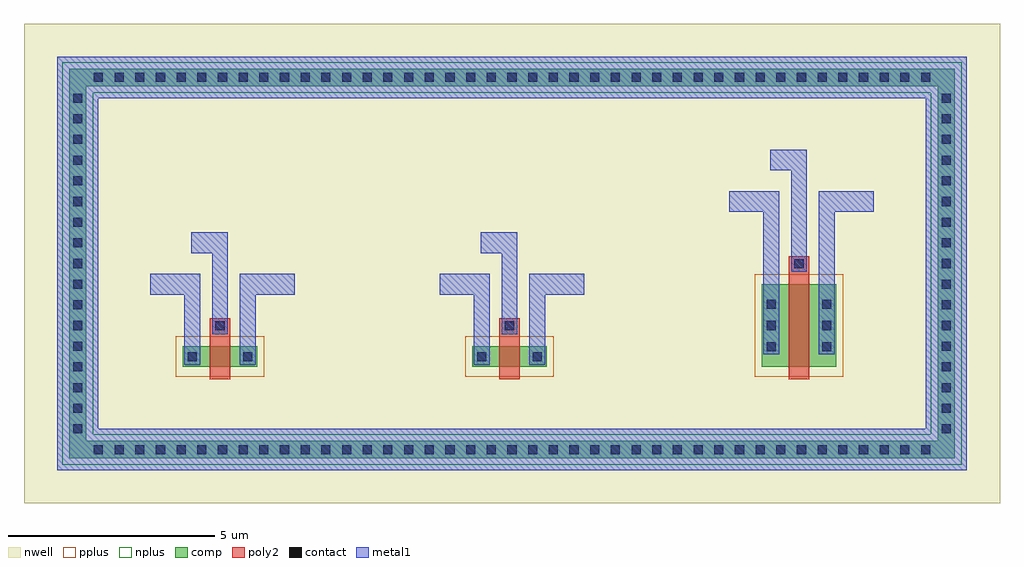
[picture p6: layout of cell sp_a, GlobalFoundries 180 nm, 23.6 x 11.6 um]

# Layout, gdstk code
import gdstk
lib = gdstk.Library(unit=1e-6, precision=1e-09)
def R(c, l, rs):  # rectangles x0, y0, x1, y1
    for r in rs: c.add(gdstk.rectangle(r[:2], r[2:], *l))
def A(c, l, x, y, w, h, nx, ny, dx, dy):  # array of equal rectangles
    R(c, l, [(x+i*dx, y+j*dy, x+i*dx+w, y+j*dy+h) for i in range(nx) for j in range(ny)])
nwell = (21, 0)
comp = (22, 0)
poly2 = (30, 0)
pplus = (31, 0)
nplus = (32, 0)
contact = (33, 0)
metal1 = (34, 0)

pfet__13 = lib.new_cell('pfet__13')
R(pfet__13, nwell, [(-0.9,-0.44,1.78,0.94)])
R(pfet__13, comp, [(-0.46,0,0,0.5), (0,0,0.88,0.5), (0.88,0,1.34,0.5)])
R(pfet__13, poly2, [(0.19,-0.3,0.69,0.8), (0.19,0.8,0.69,1.18)])
R(pfet__13, pplus, [(-0.63,-0.24,1.51,0.74)])
R(pfet__13, contact, [(-0.34,0.14,-0.12,0.36), (1,0.14,1.22,0.36), (0.33,0.88,0.55,1.1)])
R(pfet__13, metal1, [(-0.42,0.055,-0.04,0.445), (0.92,0.055,1.3,0.445), (0.25,0.795,0.63,1.185)])

pfet__14 = lib.new_cell('pfet__14')
R(pfet__14, nwell, [(-0.9,-0.44,1.78,2.44)])
R(pfet__14, comp, [(-0.46,0,0,2), (0,0,0.88,2), (0.88,0,1.34,2)])
R(pfet__14, poly2, [(0.19,-0.3,0.69,2.3), (0.19,2.3,0.69,2.68)])
R(pfet__14, pplus, [(-0.63,-0.24,1.51,2.24)])
A(pfet__14, contact, -0.34, 0.38, 0.22, 0.22, 1, 3, 0, 0.51)
A(pfet__14, contact, 1, 0.38, 0.22, 0.22, 1, 3, 0, 0.51)
R(pfet__14, contact, [(0.33,2.38,0.55,2.6)])
R(pfet__14, metal1, [(-0.42,0.3,-0.04,1.7), (0.92,0.3,1.3,1.7), (0.25,2.295,0.63,2.685)])

sp_a = lib.new_cell('sp_a')
R(sp_a, nwell, [(-4.3,-3.3,19.3,8.3)])
R(sp_a, comp, [(-3.21,-2.21,-2.79,7.21), (-2.79,-2.21,17.79,-1.79), (17.79,-2.21,18.21,7.21), (-2.79,6.79,17.79,7.21)])
R(sp_a, nplus, [(-3.37,-2.37,18.37,-1.63), (-3.37,-2.37,-2.63,7.37), (17.63,-2.37,18.37,7.37), (-3.37,6.63,18.37,7.37)])
A(sp_a, contact, -2.61, -2.11, 0.22, 0.22, 41, 2, 0.5, 9)
A(sp_a, contact, -3.11, -1.61, 0.22, 0.22, 1, 17, 0, 0.5)
A(sp_a, contact, 17.89, -1.61, 0.22, 0.22, 1, 17, 0, 0.5)
R(sp_a, metal1, [(-3.5,-2.5,-2.5,7.5), (-2.5,-2.5,17.5,-1.5), (17.5,-2.5,18.5,7.5), (-0.42,0.425,-0.04,2.25), (0.92,0.425,1.3,2.25), (6.58,0.425,6.96,2.25), (7.92,0.425,8.3,2.25), (0.25,1.165,0.63,3.25), (7.25,1.165,7.63,3.25), (13.58,1.68,13.96,4.25), (14.92,1.68,15.3,4.25), (-1.25,1.75,-0.04,2.25), (0.92,1.75,2.25,2.25), (5.75,1.75,6.96,2.25), (7.92,1.75,9.25,2.25), (14.25,2.665,14.63,5.25), (-0.25,2.75,0.63,3.25), (6.75,2.75,7.63,3.25), (12.75,3.75,13.96,4.25), (14.92,3.75,16.25,4.25), (13.75,4.75,14.63,5.25), (-2.5,6.5,17.5,7.5)])
sp_a.add(gdstk.Reference(pfet__13, (0,0)))
sp_a.add(gdstk.Reference(pfet__13, (7,0)))
sp_a.add(gdstk.Reference(pfet__14, (14,0)))

lib.write_gds('sp_a.gds')
